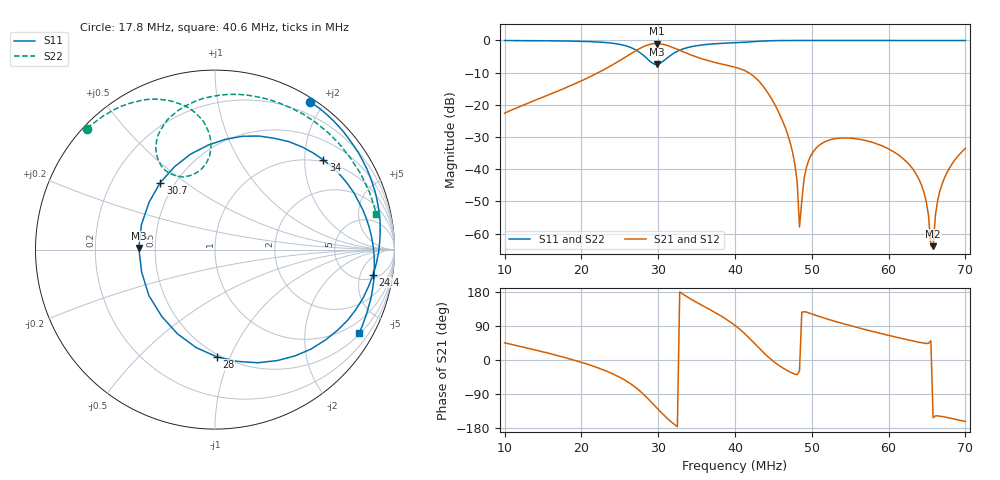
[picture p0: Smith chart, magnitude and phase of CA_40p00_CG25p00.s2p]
#  HZ  S  RI  R  50.00
! Rohde & Schwarz ZVT8 8Ports - Version 4.11 - 1300.0000k08 SN: 100242
! Date: 2026-07-31 14:49:19
! Measurements: S11 S21 S12 S22
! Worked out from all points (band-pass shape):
!   201 points, 10 MHz to 70 MHz, reference 50 ohm
!   highest |S21| = -0.97 dB at 29.8 MHz (marker M1); lowest = -63.9 dB at 65.8 MHz (marker M2)
!   |S21| within 3 dB of the highest: 26.55 MHz to 33.68 MHz (7.128 MHz wide, 23.7 % of centre)
!   lowest |S11| = -7.4 dB at 29.8 MHz (marker M3), VSWR 2.48, Z = 20.2 + j0.446 ohm
!   |S11| at or under -10 dB: nowhere
!   |S22| runs from -7.2 to 0.0 dB; largest |S21 - S12| = 0.0027
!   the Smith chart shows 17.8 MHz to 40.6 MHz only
!   S11 on the Smith chart (normalised r, x): 17.8 MHz: 0.05, +1.83; 24.4 MHz: 6, -8; 28 MHz: 0.48, -0.89; 30.7 MHz: 0.42, +0.41; 34 MHz: 0.95, +2.46; 40.6 MHz: 0.55, -3.67
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1e7  -0.4023 0.9114  0.0521 0.0526  0.0519 0.0527  -0.9192 0.3846
1.78e7  0.531 0.8227  0.1789 0.021  0.1791 0.0214  -0.7117 0.6727
2.02e7  0.7708 0.5819  0.2397 -0.0311  0.239 -0.0309  -0.6038 0.7547
2.44e7  0.8809 -0.1394  0.3399 -0.2813  0.34 -0.2812  -0.3145 0.8375
2.8e7  0.00978 -0.5973  0.0163 -0.7919  0.017 -0.7927  -0.0225 0.6012
2.98e7  -0.4246 0.00906  -0.5268 -0.7233  -0.5283 -0.7223  -0.1407 0.4116
3.01e7  -0.4094 0.1409  -0.6029 -0.6565  -0.6024 -0.6564  -0.1794 0.4047
3.07e7  -0.3049 0.3736  -0.709 -0.4987  -0.7067 -0.4988  -0.2483 0.4224
3.4e7  0.6043 0.4997  -0.5877 0.1707  -0.5873 0.1698  -0.2379 0.7484
4e7  0.8326 -0.3918  -0.00874 0.383  -0.00824 0.3829  0.8119 0.4224
4.06e7  0.8045 -0.462  0.054 0.3604  0.0536 0.3606  0.8993 0.2011
4.36e7  0.5902 -0.7788  0.1846 0.0734  0.1841 0.074  0.0975 -0.9651
4.72e7  0.1698 -0.9823  0.0214 -0.0135  0.0214 -0.0135  -0.9658 -0.24
4.81e7  0.0596 -0.9961  0.00486 -0.00386  0.00495 -0.00386  -0.9936 -0.0402
4.84e7  0.0231 -0.9981  0.00111 -0.000603  0.0011 -0.000614  -0.9942 0.0182
4.9e7  -0.0506 -0.9975  -0.00433 0.00569  -0.00439 0.00567  -0.9872 0.1262
5.02e7  -0.1917 -0.9793  -0.00939 0.0162  -0.00943 0.0162  -0.9487 0.3037
6.01e7  -0.9671 -0.2375  0.00868 0.0184  0.00865 0.0183  -0.4235 0.9018
6.4e7  -0.9755 0.198  0.00466 0.00493  0.00464 0.00496  -0.2271 0.9713
6.58e7  -0.9161 0.3918  -0.000564 -0.000294  -0.000606 -0.00032  -0.1404 0.9875
6.7e7  -0.8543 0.5124  -0.00519 -0.00308  -0.00518 -0.00308  -0.0824 0.9929
7e7  -0.6325 0.7698  -0.0201 -0.00639  -0.02 -0.00636  0.0577 0.9953
